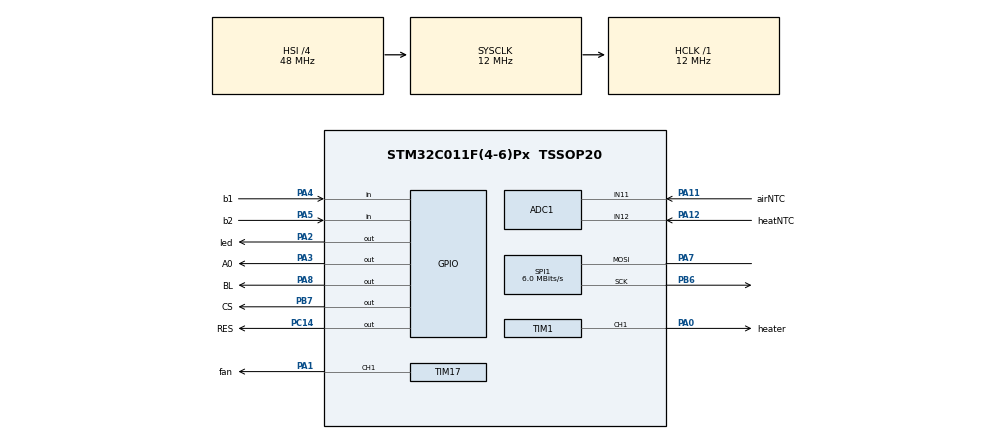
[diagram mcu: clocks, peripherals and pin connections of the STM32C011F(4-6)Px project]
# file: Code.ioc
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ADC1.NbrOfConversionFlag=0
ADC1.SelectedChannel=ADC_CHANNEL_11|ADC_CHANNEL_12
ADC1.master=1
Mcu.Family=STM32C0
Mcu.Name=STM32C011F(4-6)Px
Mcu.Package=TSSOP20
PA0.GPIO_Label=heater
PA0.Signal=S_TIM1_CH1
PA1.GPIO_Label=fan
PA1.Signal=S_TIM17_CH1
PA11\ [PA9].GPIO_Label=airNTC
PA11\ [PA9].Mode=IN11
PA11\ [PA9].Signal=ADC1_IN11
PA12\ [PA10].GPIO_Label=heatNTC
PA12\ [PA10].Mode=IN12
PA12\ [PA10].Signal=ADC1_IN12
PA13.Mode=Serial_Wire
PA13.Signal=DEBUG_SWDIO
PA14-BOOT0.Mode=Serial_Wire
PA14-BOOT0.Signal=DEBUG_SWCLK
PA2.GPIO_Label=led
PA2.Signal=GPIO_Output
PA3.GPIO_Label=A0
PA3.Signal=GPIO_Output
PA4.GPIO_Label=b1
PA4.Signal=GPIO_Input
PA5.GPIO_Label=b2
PA5.Signal=GPIO_Input
PA7.Mode=Simplex_Bidirectional_Master
PA7.Signal=SPI1_MOSI
PA8.GPIO_Label=BL
PA8.Signal=GPIO_Output
PB6.Mode=Simplex_Bidirectional_Master
PB6.Signal=SPI1_SCK
PB7.GPIO_Label=CS
PB7.Signal=GPIO_Output
PC14-OSCX_IN\ (PC14).GPIO_Label=RES
PC14-OSCX_IN\ (PC14).Signal=GPIO_Output
ProjectManager.HeapSize=0x200
ProjectManager.StackSize=0x400
ProjectManager.TargetToolchain=CMake
RCC.ADCFreq_Value=12000000
RCC.AHBFreq_Value=12000000
RCC.CortexFreq_Value=12000000
RCC.EXTERNAL_CLOCK_VALUE=12288000
RCC.HCLKFreq_Value=12000000
RCC.HSE_VALUE=8000000
RCC.HSI_VALUE=48000000
RCC.LSE_VALUE=32768
RCC.SYSCLKFreq_VALUE=12000000
SH.S_TIM17_CH1.0=TIM17_CH1,PWM Generation1 CH1
SH.S_TIM1_CH1.0=TIM1_CH1,PWM Generation1 CH1
SPI1.CalculateBaudRate=6.0 MBits/s
SPI1.Direction=SPI_DIRECTION_1LINE
SPI1.Mode=SPI_MODE_MASTER
SPI1.VirtualType=VM_MASTER
TIM1.Channel-PWM\ Generation1\ CH1=TIM_CHANNEL_1
TIM17.Channel=TIM_CHANNEL_1
VP_TIM17_VS_ClockSourceINT.Mode=Enable_Timer
board=custom

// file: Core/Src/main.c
/* USER CODE BEGIN Header */
/**
  ******************************************************************************
  * @file           : main.c
  * @brief          : Main program body
  ******************************************************************************
  * @attention
  *
  * Copyright (c) 2025 STMicroelectronics.
  * All rights reserved.
  *
  * This software is licensed under terms that can be found in the LICENSE file
  * in the root directory of this software component.
  * If no LICENSE file comes with this software, it is provided AS-IS.
  *
  ******************************************************************************
  */
/* USER CODE END Header */
#include "main.h"
#include "stm32c0xx_hal_gpio.h"

/* USER CODE BEGIN Includes */
#include "dryer.h"
/* USER CODE END Includes */

ADC_HandleTypeDef hadc1;

SPI_HandleTypeDef hspi1;

TIM_HandleTypeDef htim1;
TIM_HandleTypeDef htim17;

void SystemClock_Config(void);
static void MX_GPIO_Init(void);
static void MX_ADC1_Init(void);
static void MX_TIM1_Init(void);
static void MX_TIM17_Init(void);
static void MX_SPI1_Init(void);

int main(void)
{

  /* MCU Configuration--------------------------------------------------------*/

  /* Reset of all peripherals, Initializes the Flash interface and the Systick. */
  HAL_Init();

  /* Configure the system clock */
  SystemClock_Config();

  /* Initialize all configured peripherals */
  MX_GPIO_Init();
  MX_ADC1_Init();
  MX_TIM1_Init();
  MX_TIM17_Init();
  MX_SPI1_Init();
  /* USER CODE BEGIN 2 */

  Dryer_Init();

  /* USER CODE END 2 */

  /* Infinite loop */
  while (1)
  {

    Dryer_Loop();

  }
}

void SystemClock_Config(void)
{
  RCC_OscInitTypeDef RCC_OscInitStruct = {0};
  RCC_ClkInitTypeDef RCC_ClkInitStruct = {0};

  __HAL_FLASH_SET_LATENCY(FLASH_LATENCY_0);

  /** Initializes the RCC Oscillators according to the specified parameters
  * in the RCC_OscInitTypeDef structure.
  */
  RCC_OscInitStruct.OscillatorType = RCC_OSCILLATORTYPE_HSI;
  RCC_OscInitStruct.HSIState = RCC_HSI_ON;
  RCC_OscInitStruct.HSIDiv = RCC_HSI_DIV4;
  RCC_OscInitStruct.HSICalibrationValue = RCC_HSICALIBRATION_DEFAULT;
  if (HAL_RCC_OscConfig(&RCC_OscInitStruct) != HAL_OK)
  {
    Error_Handler();
  }

  /** Initializes the CPU, AHB and APB buses clocks
  */
  RCC_ClkInitStruct.ClockType = RCC_CLOCKTYPE_HCLK|RCC_CLOCKTYPE_SYSCLK
                              |RCC_CLOCKTYPE_PCLK1;
  RCC_ClkInitStruct.SYSCLKSource = RCC_SYSCLKSOURCE_HSI;
  RCC_ClkInitStruct.SYSCLKDivider = RCC_SYSCLK_DIV1;
  RCC_ClkInitStruct.AHBCLKDivider = RCC_HCLK_DIV1;
  RCC_ClkInitStruct.APB1CLKDivider = RCC_APB1_DIV1;

  if (HAL_RCC_ClockConfig(&RCC_ClkInitStruct, FLASH_LATENCY_0) != HAL_OK)
  {
    Error_Handler();
  }
}

static void MX_ADC1_Init(void)
{

  ADC_ChannelConfTypeDef sConfig = {0};

  /** Configure the global features of the ADC (Clock, Resolution, Data Alignment and number of conversion)
  */
  hadc1.Instance = ADC1;
  hadc1.Init.ClockPrescaler = ADC_CLOCK_SYNC_PCLK_DIV1;
  hadc1.Init.Resolution = ADC_RESOLUTION_12B;
  hadc1.Init.DataAlign = ADC_DATAALIGN_RIGHT;
  hadc1.Init.ScanConvMode = ADC_SCAN_SEQ_FIXED;
  hadc1.Init.EOCSelection = ADC_EOC_SINGLE_CONV;
  hadc1.Init.LowPowerAutoWait = DISABLE;
  hadc1.Init.LowPowerAutoPowerOff = DISABLE;
  hadc1.Init.ContinuousConvMode = DISABLE;
  hadc1.Init.NbrOfConversion = 1;
  hadc1.Init.DiscontinuousConvMode = DISABLE;
  hadc1.Init.ExternalTrigConv = ADC_SOFTWARE_START;
  hadc1.Init.ExternalTrigConvEdge = ADC_EXTERNALTRIGCONVEDGE_NONE;
  hadc1.Init.DMAContinuousRequests = DISABLE;
  hadc1.Init.Overrun = ADC_OVR_DATA_PRESERVED;
  hadc1.Init.SamplingTimeCommon1 = ADC_SAMPLETIME_1CYCLE_5;
  hadc1.Init.OversamplingMode = DISABLE;
  hadc1.Init.TriggerFrequencyMode = ADC_TRIGGER_FREQ_HIGH;
  if (HAL_ADC_Init(&hadc1) != HAL_OK)
  {
    Error_Handler();
  }

  /** Configure Regular Channel
  */
  sConfig.Channel = ADC_CHANNEL_11;
  sConfig.Rank = ADC_RANK_CHANNEL_NUMBER;
  if (HAL_ADC_ConfigChannel(&hadc1, &sConfig) != HAL_OK)
  {
    Error_Handler();
  }

  /** Configure Regular Channel
  */
  sConfig.Channel = ADC_CHANNEL_12;
  if (HAL_ADC_ConfigChannel(&hadc1, &sConfig) != HAL_OK)
  {
    Error_Handler();
  }

}

static void MX_SPI1_Init(void)
{

  /* SPI1 parameter configuration*/
  hspi1.Instance = SPI1;
  hspi1.Init.Mode = SPI_MODE_MASTER;
  hspi1.Init.Direction = SPI_DIRECTION_1LINE;
  hspi1.Init.DataSize = SPI_DATASIZE_8BIT;
  hspi1.Init.CLKPolarity = SPI_POLARITY_LOW;
  hspi1.Init.CLKPhase = SPI_PHASE_1EDGE;
  hspi1.Init.NSS = SPI_NSS_SOFT;
  hspi1.Init.BaudRatePrescaler = SPI_BAUDRATEPRESCALER_2;
  hspi1.Init.FirstBit = SPI_FIRSTBIT_MSB;
  hspi1.Init.TIMode = SPI_TIMODE_DISABLE;
  hspi1.Init.CRCCalculation = SPI_CRCCALCULATION_DISABLE;
  hspi1.Init.CRCPolynomial = 7;
  hspi1.Init.CRCLength = SPI_CRC_LENGTH_DATASIZE;
  hspi1.Init.NSSPMode = SPI_NSS_PULSE_ENABLE;
  if (HAL_SPI_Init(&hspi1) != HAL_OK)
  {
    Error_Handler();
  }

}

static void MX_TIM1_Init(void)
{

  TIM_MasterConfigTypeDef sMasterConfig = {0};
  TIM_OC_InitTypeDef sConfigOC = {0};
  TIM_BreakDeadTimeConfigTypeDef sBreakDeadTimeConfig = {0};

  htim1.Instance = TIM1;
  htim1.Init.Prescaler = 0;
  htim1.Init.CounterMode = TIM_COUNTERMODE_UP;
  htim1.Init.Period = 65535;
  htim1.Init.ClockDivision = TIM_CLOCKDIVISION_DIV1;
  htim1.Init.RepetitionCounter = 0;
  htim1.Init.AutoReloadPreload = TIM_AUTORELOAD_PRELOAD_DISABLE;
  if (HAL_TIM_PWM_Init(&htim1) != HAL_OK)
  {
    Error_Handler();
  }
  sMasterConfig.MasterOutputTrigger = TIM_TRGO_RESET;
  sMasterConfig.MasterOutputTrigger2 = TIM_TRGO2_RESET;
  sMasterConfig.MasterSlaveMode = TIM_MASTERSLAVEMODE_DISABLE;
  if (HAL_TIMEx_MasterConfigSynchronization(&htim1, &sMasterConfig) != HAL_OK)
  {
    Error_Handler();
  }
  sConfigOC.OCMode = TIM_OCMODE_PWM1;
  sConfigOC.Pulse = 0;
  sConfigOC.OCPolarity = TIM_OCPOLARITY_HIGH;
  sConfigOC.OCNPolarity = TIM_OCNPOLARITY_HIGH;
  sConfigOC.OCFastMode = TIM_OCFAST_DISABLE;
  sConfigOC.OCIdleState = TIM_OCIDLESTATE_RESET;
  sConfigOC.OCNIdleState = TIM_OCNIDLESTATE_RESET;
  if (HAL_TIM_PWM_ConfigChannel(&htim1, &sConfigOC, TIM_CHANNEL_1) != HAL_OK)
  {
    Error_Handler();
  }
  sBreakDeadTimeConfig.OffStateRunMode = TIM_OSSR_DISABLE;
  sBreakDeadTimeConfig.OffStateIDLEMode = TIM_OSSI_DISABLE;
  sBreakDeadTimeConfig.LockLevel = TIM_LOCKLEVEL_OFF;
  sBreakDeadTimeConfig.DeadTime = 0;
  sBreakDeadTimeConfig.BreakState = TIM_BREAK_DISABLE;
  sBreakDeadTimeConfig.BreakPolarity = TIM_BREAKPOLARITY_HIGH;
  sBreakDeadTimeConfig.BreakFilter = 0;
  sBreakDeadTimeConfig.BreakAFMode = TIM_BREAK_AFMODE_INPUT;
  sBreakDeadTimeConfig.Break2State = TIM_BREAK2_DISABLE;
  sBreakDeadTimeConfig.Break2Polarity = TIM_BREAK2POLARITY_HIGH;
  sBreakDeadTimeConfig.Break2Filter = 0;
  sBreakDeadTimeConfig.Break2AFMode = TIM_BREAK_AFMODE_INPUT;
  sBreakDeadTimeConfig.AutomaticOutput = TIM_AUTOMATICOUTPUT_DISABLE;
  if (HAL_TIMEx_ConfigBreakDeadTime(&htim1, &sBreakDeadTimeConfig) != HAL_OK)
  {
    Error_Handler();
  }
  HAL_TIM_MspPostInit(&htim1);

}

static void MX_TIM17_Init(void)
{

  TIM_OC_InitTypeDef sConfigOC = {0};
  TIM_BreakDeadTimeConfigTypeDef sBreakDeadTimeConfig = {0};

  htim17.Instance = TIM17;
  htim17.Init.Prescaler = 0;
  htim17.Init.CounterMode = TIM_COUNTERMODE_UP;
  htim17.Init.Period = 65535;
  htim17.Init.ClockDivision = TIM_CLOCKDIVISION_DIV1;
  htim17.Init.RepetitionCounter = 0;
  htim17.Init.AutoReloadPreload = TIM_AUTORELOAD_PRELOAD_DISABLE;
  if (HAL_TIM_Base_Init(&htim17) != HAL_OK)
  {
    Error_Handler();
  }
  if (HAL_TIM_PWM_Init(&htim17) != HAL_OK)
  {
    Error_Handler();
  }
  sConfigOC.OCMode = TIM_OCMODE_PWM1;
  sConfigOC.Pulse = 0;
  sConfigOC.OCPolarity = TIM_OCPOLARITY_HIGH;
  sConfigOC.OCNPolarity = TIM_OCNPOLARITY_HIGH;
  sConfigOC.OCFastMode = TIM_OCFAST_DISABLE;
  sConfigOC.OCIdleState = TIM_OCIDLESTATE_RESET;
  sConfigOC.OCNIdleState = TIM_OCNIDLESTATE_RESET;
  if (HAL_TIM_PWM_ConfigChannel(&htim17, &sConfigOC, TIM_CHANNEL_1) != HAL_OK)
  {
    Error_Handler();
  }
  sBreakDeadTimeConfig.OffStateRunMode = TIM_OSSR_DISABLE;
  sBreakDeadTimeConfig.OffStateIDLEMode = TIM_OSSI_DISABLE;
  sBreakDeadTimeConfig.LockLevel = TIM_LOCKLEVEL_OFF;
  sBreakDeadTimeConfig.DeadTime = 0;
  sBreakDeadTimeConfig.BreakState = TIM_BREAK_DISABLE;
  sBreakDeadTimeConfig.BreakPolarity = TIM_BREAKPOLARITY_HIGH;
  sBreakDeadTimeConfig.BreakFilter = 0;
  sBreakDeadTimeConfig.AutomaticOutput = TIM_AUTOMATICOUTPUT_DISABLE;
  if (HAL_TIMEx_ConfigBreakDeadTime(&htim17, &sBreakDeadTimeConfig) != HAL_OK)
  {
    Error_Handler();
  }
  HAL_TIM_MspPostInit(&htim17);

}

static void MX_GPIO_Init(void)
{
  GPIO_InitTypeDef GPIO_InitStruct = {0};

  /* GPIO Ports Clock Enable */
  __HAL_RCC_GPIOA_CLK_ENABLE();
  __HAL_RCC_GPIOB_CLK_ENABLE();

  /*Configure GPIO pin Output Level */
  HAL_GPIO_WritePin(GPIOA, led_Pin|BL_Pin, GPIO_PIN_RESET);

  /*Configure GPIO pins : led_Pin BL_Pin */
  GPIO_InitStruct.Pin = led_Pin|BL_Pin;
  GPIO_InitStruct.Mode = GPIO_MODE_OUTPUT_PP;
  GPIO_InitStruct.Pull = GPIO_NOPULL;
  GPIO_InitStruct.Speed = GPIO_SPEED_FREQ_LOW;
  HAL_GPIO_Init(GPIOA, &GPIO_InitStruct);

  /*Configure GPIO pins : b1_Pin b2_Pin */
  GPIO_InitStruct.Pin = b1_Pin|b2_Pin;
  GPIO_InitStruct.Mode = GPIO_MODE_INPUT;
  GPIO_InitStruct.Pull = GPIO_PULLUP;
  HAL_GPIO_Init(GPIOA, &GPIO_InitStruct);

  /* USER CODE BEGIN MX_GPIO_Init_2 */

  // Enable GPIOC clock for RES pin (PC14)
  __HAL_RCC_GPIOC_CLK_ENABLE();

  // Set initial output levels before configuring pins
  HAL_GPIO_WritePin(ST7735_CS_GPIO_Port, ST7735_CS_Pin, GPIO_PIN_SET);   // CS high (deselected)
  HAL_GPIO_WritePin(ST7735_DC_GPIO_Port, ST7735_DC_Pin, GPIO_PIN_RESET); // DC low
  HAL_GPIO_WritePin(ST7735_RES_GPIO_Port, ST7735_RES_Pin, GPIO_PIN_SET); // RES high (not in reset)

  // Configure CS pin (PB7) as output push-pull
  GPIO_InitStruct.Pin = ST7735_CS_Pin;
  GPIO_InitStruct.Mode = GPIO_MODE_OUTPUT_PP;
  GPIO_InitStruct.Pull = GPIO_NOPULL;
  GPIO_InitStruct.Speed = GPIO_SPEED_FREQ_HIGH;
  HAL_GPIO_Init(ST7735_CS_GPIO_Port, &GPIO_InitStruct);

  // Configure DC/A0 pin (PA3) as output push-pull
  GPIO_InitStruct.Pin = ST7735_DC_Pin;
  GPIO_InitStruct.Mode = GPIO_MODE_OUTPUT_PP;
  GPIO_InitStruct.Pull = GPIO_NOPULL;
  GPIO_InitStruct.Speed = GPIO_SPEED_FREQ_HIGH;
  HAL_GPIO_Init(ST7735_DC_GPIO_Port, &GPIO_InitStruct);

  // Configure RES pin (PC14) as output push-pull
  GPIO_InitStruct.Pin = ST7735_RES_Pin;
  GPIO_InitStruct.Mode = GPIO_MODE_OUTPUT_PP;
  GPIO_InitStruct.Pull = GPIO_NOPULL;
  GPIO_InitStruct.Speed = GPIO_SPEED_FREQ_HIGH;
  HAL_GPIO_Init(ST7735_RES_GPIO_Port, &GPIO_InitStruct);

  /* USER CODE END MX_GPIO_Init_2 */
}

void Error_Handler(void)
{
  __disable_irq();
  while (1)
  {
  }
}
